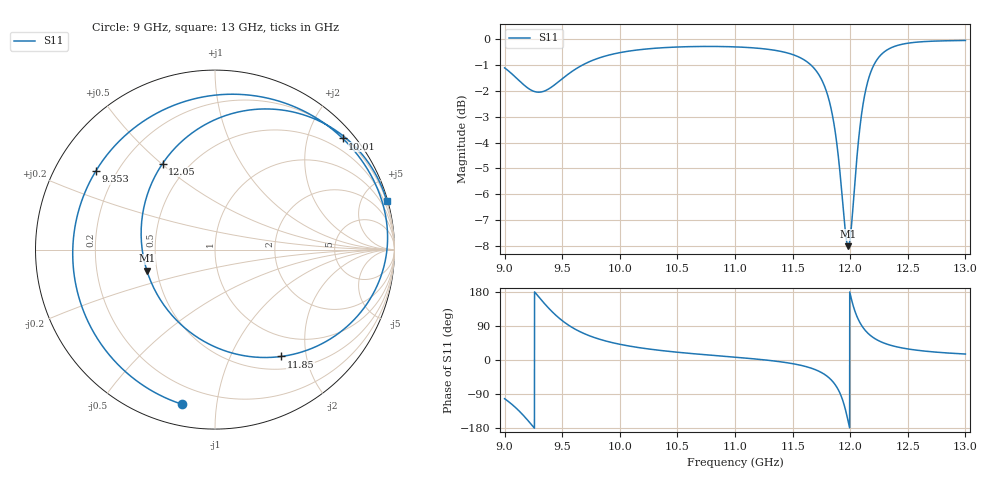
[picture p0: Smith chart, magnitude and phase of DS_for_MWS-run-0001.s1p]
! TOUCHSTONE file generated by CST DESIGN STUDIO
! Date and time: Tue Feb  4 13:40:59 2025
! Project name: C:\Work\MatlabApps\UnitCellOptimizationMatlab\CST\unitcell.cst
! Tree item: Tasks\Sweep1\SPara1\S-Parameters
! Header version: 2024
! Port assignment regex: !\s*Touchstone port\s*([0-9]+)\s*=\s*(CST MWS port|CST DES external port|CST DES block port)\s*(.+)\s* \(\"(.*)\"\)(\s*mode\s*([0-9]+))?.*
! Touchstone port assignment:
! Touchstone port 1 = CST DES external port 1 ("")
# GHz S MA R 50
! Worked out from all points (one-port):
!   4001 points, 9 GHz to 13 GHz, reference 50 ohm
!   lowest |S11| = -8.0 dB at 11.98 GHz (marker M1), VSWR 2.32, Z = 22 - j6.16 ohm
!   |S11| at or under -10 dB: nowhere
!   S11 on the Smith chart (normalised r, x): 9 GHz: 0.10, -0.80; 9.353 GHz: 0.12, +0.30; 10.01 GHz: 0.24, +2.65; 11.85 GHz: 0.68, -1.59; 12.05 GHz: 0.36, +0.50; 13 GHz: 0.12, +7.23
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9  0.8808 -102.2
9.102  0.8418 -127.5
9.207  0.8033 -161.2
9.278  0.7907 173.2
9.353  0.7954 146.5
9.425  0.8137 123.7
9.5  0.8389 103.9
9.596  0.8702 84.2
9.725  0.9031 65.3
10  0.9426 41.5
10.007  0.9433 41.1
10.5  0.9667 20.5
11  0.9672 7.4
11.5  0.9348 -9.7
11.719  0.8603 -28.3
11.791  0.7962 -40.9
11.852  0.7009 -58.1
11.922  0.5205 -95.4
11.951  0.4396 -122.2
11.983  0.3974 -162.7
12  0.412 174.2
12.05  0.5613 121.4
12.084  0.6745 98.9
12.122  0.7723 81.4
12.233  0.9138 53.1
12.343  0.9605 39.6
12.5  0.9832 29.2
13  0.9954 15.7
